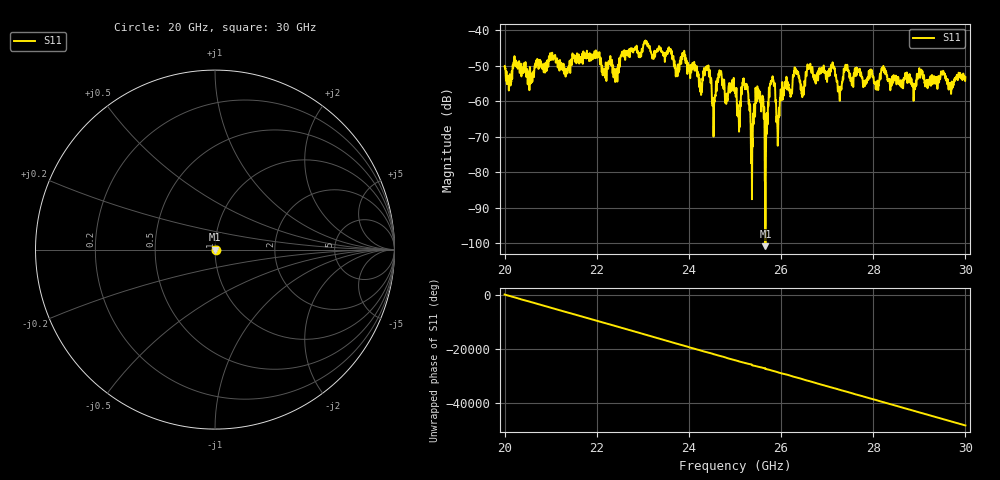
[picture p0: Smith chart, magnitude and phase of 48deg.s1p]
#  HZ  S  RI  R  50.00
! Rohde & Schwarz ZVA40 4Ports - Version 3.90 - 1145.1110k42 SN: 100403
! Date: 2023-10-03 12:55:45
! Measurement: S12
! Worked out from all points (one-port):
!   5001 points, 20 GHz to 30 GHz, reference 50 ohm
!   lowest |S11| = -100.8 dB at 25.66 GHz (marker M1), VSWR 1.00, Z = 50 + j0.000502 ohm
!   |S11| at or under -10 dB: start of sweep to end of sweep
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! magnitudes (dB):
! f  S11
! 20 GHz  -50.2
! 21.25 GHz  -50.9
! 22.5 GHz  -50.3
! 23.07 GHz  -43.8
! 23.75 GHz  -52.8
! 23.89 GHz  -47.1
! 24.26 GHz  -56.4
! 24.41 GHz  -50.3
! 24.54 GHz  -64.1
! 24.67 GHz  -51.4
! 24.8 GHz  -59.5
! 25 GHz  -57.7
! 25.08 GHz  -65.6
! 25.23 GHz  -55.3
! 25.38 GHz  -70.6
! 25.51 GHz  -58.8
! 25.66 GHz  -100.8
! 25.78 GHz  -54.9
! 25.93 GHz  -71.8
! 26.07 GHz  -56.4
! 26.25 GHz  -54.3
! 26.47 GHz  -56.6
! 26.61 GHz  -50.6
! 27.12 GHz  -49.2
! 27.27 GHz  -59.9
! 27.5 GHz  -52.5
! 28.75 GHz  -52.6
! 30 GHz  -53.3
